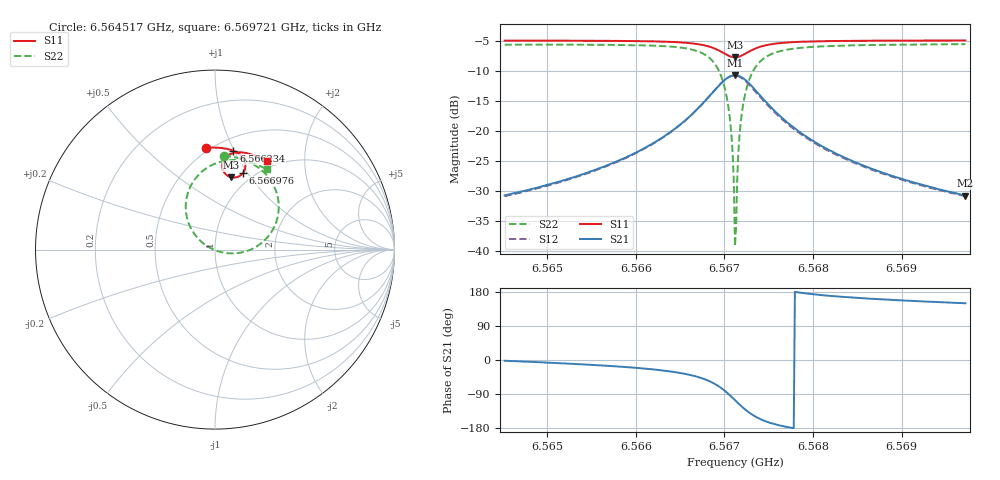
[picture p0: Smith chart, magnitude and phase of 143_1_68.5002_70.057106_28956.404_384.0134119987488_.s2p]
#  HZ  S  RI  R  50.00
! Rohde & Schwarz Vector Network Analyzer
! Rohde-Schwarz,ZNB20-2Port,1311601062101988,3.16
! Created: UTC 3/20/2024, 5:10:06 PM
! freq[Hz]  re:S11  im:S11  re:S21  im:S21  re:S12  im:S12  re:S22  im:S22
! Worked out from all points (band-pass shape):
!   401 points, 6.564517 GHz to 6.569721 GHz, reference 50 ohm
!   highest |S21| = -10.65 dB at 6.567119 GHz (marker M1); lowest = -30.7 dB at 6.569721 GHz (marker M2)
!   |S21| within 3 dB of the highest: 6.56686 GHz to 6.56738 GHz (519.8 kHz wide, 0.00791 % of centre)
!   lowest |S11| = -7.7 dB at 6.567119 GHz (marker M3), VSWR 2.41, Z = 41.9 + j40.7 ohm
!   |S11| at or under -10 dB: nowhere
!   |S22| runs from -39.1 to -5.5 dB; largest |S21 - S12| = 0.014
!   S11 on the Smith chart (normalised r, x): 6.564517 GHz: 0.47, +0.80; 6.566234 GHz: 0.62, +0.99; 6.566976 GHz: 0.89, +0.95; 6.569721 GHz: 0.90, +1.32
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6.5645171e9  -0.0506 0.5668  0.0292 -0.000988  0.0288 -0.00142  0.0497 0.5235
6.5653887e9  0.0215 0.5673  0.0428 -0.0086  0.0421 -0.0092  0.1342 0.5083
6.5662343e9  0.1022 0.5508  0.0746 -0.036  0.0733 -0.0369  0.2499 0.4507
6.5662603e9  0.105 0.5496  0.0762 -0.0379  0.075 -0.0388  0.2547 0.447
6.5665595e9  0.1404 0.528  0.0989 -0.0741  0.0974 -0.0756  0.3167 0.3757
6.5667676e9  0.1648 0.4939  0.1121 -0.1335  0.1094 -0.1363  0.3543 0.261
6.5668847e9  0.1692 0.46  0.101 -0.1927  0.0961 -0.1964  0.339 0.1481
6.5669758e9  0.1561 0.427  0.0614 -0.2492  0.0527 -0.2523  0.2668 0.043
6.5670538e9  0.1258 0.4049  -0.00727 -0.2842  -0.0194 -0.2836  0.1399 -0.0176
6.5670799e9  0.1122 0.4018  -0.0361 -0.2875  -0.0487 -0.2849  0.0878 -0.0214
6.5671059e9  0.0979 0.4017  -0.0659 -0.2855  -0.0786 -0.2803  0.0347 -0.0141
6.5671189e9  0.0908 0.4028  -0.0807 -0.2819  -0.093 -0.2758  0.00893 -0.00652
6.5671319e9  0.0838 0.4047  -0.095 -0.2771  -0.1069 -0.2699  -0.016 0.00393
6.5671449e9  0.0771 0.4074  -0.1087 -0.2709  -0.1201 -0.2625  -0.0393 0.0166
6.5671709e9  0.0652 0.4149  -0.1337 -0.2549  -0.1434 -0.2448  -0.081 0.0482
6.5671969e9  0.0553 0.4244  -0.1544 -0.2352  -0.1622 -0.2239  -0.1139 0.0857
6.567249e9  0.0432 0.4468  -0.181 -0.1906  -0.185 -0.1785  -0.1536 0.1674
6.567314e9  0.0408 0.4742  -0.1909 -0.1369  -0.1913 -0.1261  -0.1619 0.262
6.5675612e9  0.0793 0.5297  -0.1463 -0.0283  -0.1431 -0.024  -0.0595 0.4448
6.5679905e9  0.1424 0.5422  -0.0836 0.00901  -0.0815 0.0103  0.0802 0.498
6.5688621e9  0.2254 0.5225  -0.0404 0.0155  -0.0394 0.0158  0.2112 0.4815
6.5697207e9  0.2896 0.4919  -0.0251 0.0147  -0.0247 0.0149  0.2886 0.4466
